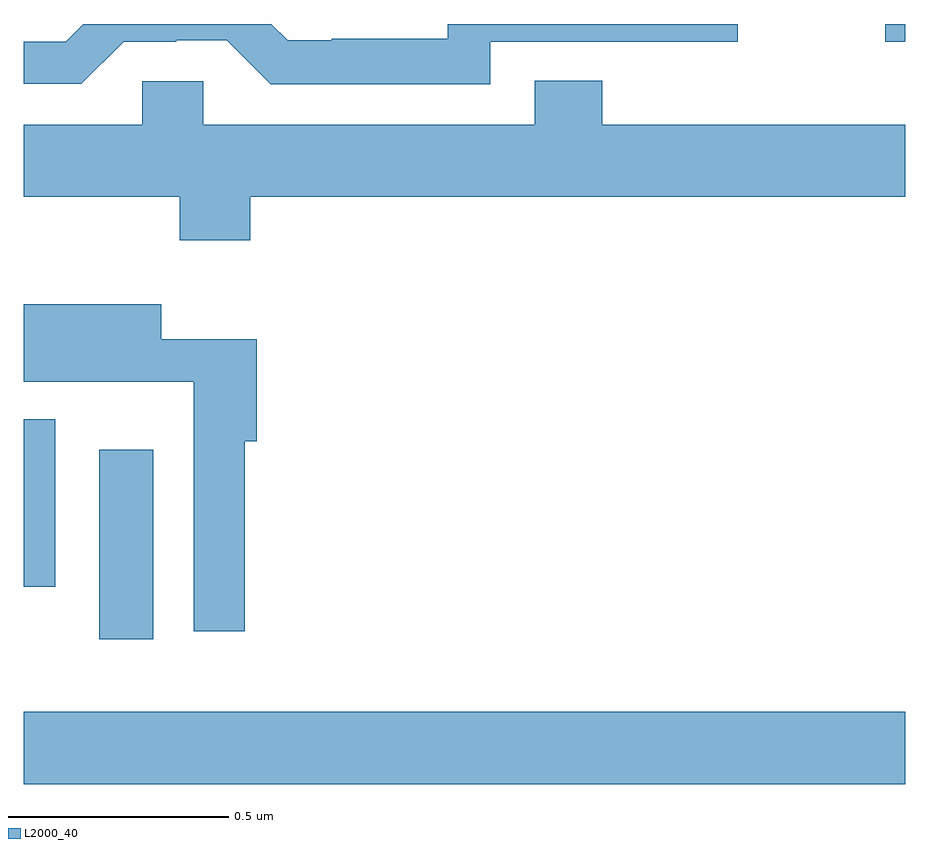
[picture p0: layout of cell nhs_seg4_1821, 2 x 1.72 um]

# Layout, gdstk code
import gdstk
lib = gdstk.Library(unit=1e-6, precision=1e-09)
def R(c, l, rs):  # rectangles x0, y0, x1, y1
    for r in rs: c.add(gdstk.rectangle(r[:2], r[2:], *l))
def P(c, l, *ps):  # polygons
    for p in ps: c.add(gdstk.Polygon(p, *l))
L2000_40 = (2000, 40)

nhs_seg4_1821 = lib.new_cell('nhs_seg4_1821')
R(nhs_seg4_1821, L2000_40, [(133,774.176,135,774.34), (133.172,774.504,133.294,774.934), (133,774.624,133.072,775.003), (134.955,775.86,135,775.9)])
P(nhs_seg4_1821, L2000_40, [(134.058,775.86),(134.62,775.86),(134.62,775.9),(133.962,775.9),(133.962,775.867),(133.699,775.867),(133.699,775.863),(133.599,775.863),(133.562,775.9),(133.135,775.9),(133.095,775.86),(133,775.86),(133,775.764),(133.131,775.764),(133.227,775.86),(133.346,775.86),(133.346,775.863),(133.461,775.863),(133.561,775.763),(134.058,775.763)],
  [(133.514,775.508),(135,775.508),(135,775.672),(134.312,775.672),(134.312,775.771),(134.159,775.771),(134.159,775.672),(133.407,775.672),(133.407,775.77),(133.269,775.77),(133.269,775.672),(133,775.672),(133,775.508),(133.354,775.508),(133.354,775.409),(133.514,775.409)],
  [(133.502,774.953),(133.529,774.953),(133.529,775.185),(133.312,775.185),(133.312,775.264),(133,775.264),(133,775.089),(133.068,775.089),(133.068,775.088),(133.386,775.088),(133.386,774.522),(133.502,774.522)])

lib.write_gds('nhs_seg4_1821.gds')
